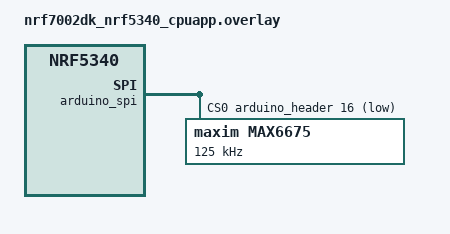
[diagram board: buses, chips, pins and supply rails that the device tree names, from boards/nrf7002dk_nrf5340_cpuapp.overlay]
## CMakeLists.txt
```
cmake_minimum_required(VERSION 3.20.0)

find_package(Zephyr REQUIRED HINTS $ENV{ZEPHYR_BASE})
project(meatometer)

target_include_directories(app PRIVATE ${CMAKE_CURRENT_SOURCE_DIR}/include)
target_include_directories(app PRIVATE src)

target_sources(app PRIVATE
    src/main.c
    src/fsm/session_fsm.c
    src/fsm/conn_fsm.c
    src/fsm/dispatcher.c
    src/comms/ble_prov.c
    src/comms/wifi_mgr.c
    src/comms/mqtt_mgr.c
    src/hal/hal.c
    src/sensor/dummy.c
    src/sensor/max6675.c
    src/sensor/sensor_registry.c
    src/temperature.c
)

zephyr_library_include_directories($<TARGET_PROPERTY:wifi_prov_core,BINARY_DIR>)

target_link_libraries(app PRIVATE wifi_prov_ble)
```

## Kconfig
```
menu "Meatometer application configuration"

config APP_MQTT_BROKER_ADDR
	string "MQTT broker IP address"

config APP_MQTT_USERNAME
	string "MQTT username for authentication at broker"

config APP_MQTT_PASSWORD
	string "MQTT password for authentication at broker"

endmenu

source "Kconfig.zephyr"
```

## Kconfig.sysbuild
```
source "${ZEPHYR_BASE}/share/sysbuild/Kconfig"

# Enable the IPC radio firmware in Sysbuild
config NRF_DEFAULT_IPC_RADIO
	default y
```

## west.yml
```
manifest:
  remotes:
    - name: nrfconnect
      url-base: https://github.com/nrfconnect
  
  projects:
    - name: sdk-nrf
      remote: nrfconnect
      revision: v3.2.3
      import: true

  self:
    path: app
```

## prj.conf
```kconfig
CONFIG_SENSOR=y
CONFIG_SPI=y
CONFIG_STDOUT_CONSOLE=y
CONFIG_CBPRINTF_FP_SUPPORT=y

# Logging
CONFIG_LOG=y
CONFIG_SENSOR_LOG_LEVEL_DBG=y

# State Machine Framework
CONFIG_SMF=y
CONFIG_SMF_ANCESTOR_SUPPORT=n

# Enable the Wi-Fi relevant configurations
CONFIG_WIFI=y
CONFIG_WIFI_NM_WPA_SUPPLICANT=y
# Optimize Wi-Fi stack to save memory
CONFIG_NRF70_RX_NUM_BUFS=16
CONFIG_NRF70_MAX_TX_AGGREGATION=4

# Configure the Wi-Fi credentials
CONFIG_WIFI_CREDENTIALS=y
CONFIG_WIFI_CREDENTIALS_MAX_ENTRIES=1

# Enable the Network Management relevant configurations
CONFIG_NET_MGMT=y
CONFIG_NET_MGMT_EVENT=y
CONFIG_NET_MGMT_EVENT_INFO=y
CONFIG_NET_MGMT_EVENT_STACK_SIZE=22000
CONFIG_NET_MGMT_EVENT_QUEUE_TIMEOUT=5000

# Enable the Connection Manager and L2 connectivity
CONFIG_NET_CONNECTION_MANAGER=y
CONFIG_NET_CONNECTION_MANAGER_MONITOR_STACK_SIZE=5200
CONFIG_L2_WIFI_CONNECTIVITY=y
# Enable the auto connect feature of the L2 Wi-Fi connectivity
#CONFIG_L2_WIFI_CONNECTIVITY_AUTO_CONNECT=n

# DK library
CONFIG_DK_LIBRARY=y

# System settings
CONFIG_NEWLIB_LIBC=y
CONFIG_NEWLIB_LIBC_NANO=n

# Networking
CONFIG_NETWORKING=y
CONFIG_NET_SOCKETS=y
CONFIG_NET_L2_ETHERNET=y
CONFIG_NET_L2_WIFI_MGMT=y
CONFIG_NET_IPV4=y
CONFIG_NET_IPV6=n
CONFIG_NET_NATIVE=y
CONFIG_NET_DHCPV4=y
CONFIG_NET_TCP=y
CONFIG_DNS_RESOLVER=y

# Enable support for shell commands
CONFIG_SHELL=y
CONFIG_NET_L2_WIFI_SHELL=y
CONFIG_WIFI_CREDENTIALS_SHELL=y
CONFIG_SHELL_STACK_SIZE=5200

# Memory
CONFIG_SYSTEM_WORKQUEUE_STACK_SIZE=4096
CONFIG_MAIN_STACK_SIZE=5200

CONFIG_NANOPB=y

# MQTT
CONFIG_MQTT_HELPER=y
CONFIG_MQTT_CLEAN_SESSION=y

# Bluetooth LE
#  Enable the necessary Bluetooth LE configurations
CONFIG_BT=y
CONFIG_BT_PERIPHERAL=y
CONFIG_BT_PERIPHERAL_PREF_TIMEOUT=75
CONFIG_BT_WIFI_PROV=y
CONFIG_WIFI_PROV_CORE=y
CONFIG_BT_BONDABLE=n

CONFIG_BT_SMP=y
CONFIG_BT_BUF_ACL_RX_SIZE=151
CONFIG_BT_L2CAP_TX_MTU=147
CONFIG_BT_BUF_ACL_TX_SIZE=151
CONFIG_BT_RX_STACK_SIZE=22000
CONFIG_BT_DEVICE_NAME_DYNAMIC=y

# Storing credentials
#  Enable the necessary NVS and flash configurations
CONFIG_FLASH=y
CONFIG_FLASH_PAGE_LAYOUT=y
CONFIG_FLASH_MAP=y

CONFIG_NVS=y
CONFIG_SETTINGS=y
CONFIG_SETTINGS_NVS=y

# BT enables MbedTLS heap but uses the default heap size which is not enough for Wi-Fi.
CONFIG_MBEDTLS_HEAP_SIZE=8192

CONFIG_NET_PKT_BUF_TX_DATA_POOL_SIZE=5000
CONFIG_NET_PKT_BUF_RX_DATA_POOL_SIZE=5000
```

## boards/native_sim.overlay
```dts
/ {
    aliases {
        led-power = &led_0;
        led-status = &led_1;
        btn-power = &button0;
        btn-start = &button1;
    };

    buttons {
        compatible = "gpio-keys";

        button0: button_0 {
            gpios = <&gpio1 8 (GPIO_PULL_UP | GPIO_ACTIVE_LOW)>;
            label = "Push button 1";
        };

        button1: button_1 {
            gpios = <&gpio1 9 (GPIO_PULL_UP | GPIO_ACTIVE_LOW)>;
            label = "Push button 2";
        };
    };
};
```

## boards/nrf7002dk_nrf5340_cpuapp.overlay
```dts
/ {
	aliases {
		led-measuring = &led0;
		led-status = &led1;
		btn-measure = &button0;
		btn-reconnect-wifi = &button1;
	};
};

&arduino_spi {
	status = "okay";
	cs-gpios = <&arduino_header 16 GPIO_ACTIVE_LOW>; /* D10 */

	max6675@0 {
		compatible = "maxim,max6675";
		reg = <0>;
		spi-max-frequency = <125000>;
	};
};
```

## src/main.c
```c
/*
 * Copyright (c) 2026 Maik Lorenz <maik.lorenz@pm.me>
 *
 * SPDX-License-Identifier: Apache-2.0
 */

#include "app_config.h"
#include "app_events.h"
#include "comms/ble_prov.h"
#include "comms/mqtt_mgr.h"
#include "comms/wifi_mgr.h"
#include "fsm/conn_fsm.h"
#include "fsm/dispatcher.h"
#include "fsm/session_fsm.h"
#include "hal/hal.h"
#include "sensor/dummy.h"
#include "sensor/sensor_registry.h"
#include "sensor/max6675.h"
#include "temperature.h"
#include <zephyr/app_version.h>
#include <zephyr/kernel.h>
#include <zephyr/logging/log.h>

LOG_MODULE_REGISTER(main, LOG_LEVEL_DBG);

/* size of stack area used by each thread */
#define TH_STACKSIZE         1024
/* scheduling priority used by AppState thread */
#define TH_APPSTATE_PRIORITY 1
/* scheduling priority used by MeasureTemp thread */
#define TH_TEMP_PRIORITY     7

/* Queue for app events */
K_MSGQ_DEFINE(app_event_queue, sizeof(app_event_t), APP_EVENT_QUEUE_DEPTH, 4);

int main(void)
{
	LOG_INF("Meatometer - v%s - arch: %s", APP_VERSION_STRING, CONFIG_ARCH);

	// Get all interfaces
	const hal_iface_t *hal = hal_get_iface(&app_event_queue);
	const network_iface_t *wifi = wifi_get_iface(&app_event_queue);
	const mqtt_iface_t *mqtt = mqtt_get_iface(&app_event_queue);
	const ble_prov_iface_t *ble_prov = ble_prov_get_iface(&app_event_queue);

	// Initialize subsystems
	hal->init();
	wifi->init();
	mqtt->init();
	ble_prov->init();

	// Initialize sensor registry
	sensor_registry_init();
	sensor_registry_register(0, max6675_get_iface());
	// sensor_registry_register(1, sensor_dummy_get_iface());
	uint8_t discovered_mask = sensor_registry_scan();
	(void)discovered_mask;

	// Initialize temperature measurement thread
	temperature_init(&app_event_queue);

	// Initialize state machines
	session_fsm_init(hal, mqtt);
	conn_fsm_init(hal, wifi, mqtt, ble_prov);

	dispatcher_init(&app_event_queue);
	dispatcher_run();

	return 0;
}
```

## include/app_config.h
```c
#pragma once

#define SENSOR_MAX_COUNT          4
#define APP_TARGET_TEMP_DEFAULT_C 65.0f
#define APP_MEASURE_INTERVAL_MS   1000
#define APP_EVENT_QUEUE_DEPTH     16

#define MQTT_CLIENT_ID              "meatometer-01"
#define MQTT_STATE_TOPIC_FMT        "meatometer/sensor/%u/temperature"
#define MQTT_AVAIL_TOPIC            "meatometer/status"
#define MQTT_DISCOVERY_PREFIX       "homeassistant"
#define MQTT_HA_STATUS_TOPIC        "homeassistant/status"
#define MQTT_TARGET_STATE_TOPIC_FMT "meatometer/sensor/%u/target"
#define MQTT_TARGET_CMD_TOPIC_FMT   "meatometer/sensor/%u/target/set"
#define MQTT_TARGET_CMD_TOPIC_SUB   "meatometer/sensor/+/target/set"
#define MQTT_SESSION_STATE_TOPIC    "meatometer/session/state"
```

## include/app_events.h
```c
#pragma once

#include <stdint.h>

typedef enum {
	/* Measure button was pressed */
	EVT_BTN_MEASURE = 0,
	/* Reconnect WiFi button was pressed */
	EVT_BTN_RECONNECT_WIFI,
	/* New temperature measurement available */
	EVT_TEMP_UPDATE,
	/* Target temperature reached */
	EVT_TEMP_REACHED,
	/* Target temperature set via MQTT command */
	EVT_TARGET_TEMP_SET,
	/* WiFi connected */
	EVT_WIFI_CONNECTED,
	/* WiFi disconnected */
	EVT_WIFI_DISCONNECTED,
	/* Attempt to connect to WiFi AP failed */
	EVT_WIFI_CONNECT_FAILED,
	/* MQTT client is successfully connected to broker */
	EVT_MQTT_CONNECTED,
	/* MQTT connection to broker lost */
	EVT_MQTT_DISCONNECTED,
} app_event_type_t;

typedef struct {
	app_event_type_t type;
	union {
		struct {
			uint8_t sensor_slot;
			float temperature;
		} temp;
		struct {
			uint8_t sensor_slot;
			float temperature;
		} target;
		int error_code;
	} data;
} app_event_t;
```

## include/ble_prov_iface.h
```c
/**
 * @file ble_prov_iface.h
 * @brief BLE provisioning interface
 *
 * Abstract interface for BLE-based WiFi provisioning. Production code uses
 * the NCS wifi_provisioning library; tests inject mocks.
 */

#pragma once

/** Callback invoked when BLE provisioning completes successfully. */
typedef void (*ble_prov_done_cb_t)(void);

/** Abstract BLE provisioning interface. */
typedef struct {
	int (*init)(void);
	int (*start)(void);
	int (*stop)(void);
} ble_prov_iface_t;
```

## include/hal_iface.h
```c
#pragma once

#include <stdbool.h>
#include <stdint.h>

/* ── LEDs ─────────────────────────────────────────────────────────── */

#define LED_BLINK_SLOW_MS 1000
#define LED_BLINK_FAST_MS 250

typedef enum {
	/* Measurement is in progress */
	LED_MEASURING = 0,
	/* Status LED - On: WiFi connected, Blinking: Target temperature reached */
	LED_STATUS,
	LED_COUNT,
} led_id_t;

/* ── Buttons ─────────────────────────────────────────────────────────── */

typedef enum {
	/* Start/Stop measurement */
	BTN_MEASURE = 0,
	/* Reconnect Wi-Fi (start BLE advertising) */
	BTN_RECONNECT_WIFI,
	BTN_COUNT,
} btn_id_t;

/** Is called by HAL if a button was pressed. */
typedef void (*btn_callback_t)(btn_id_t btn);

/**
 * Abstract hardware interface.
 * In production code filled with real drivers, in tests with hal_mock.c
 */
typedef struct {
	/** Initializes the hardware interface.
	 * @return 0 on success, negative error code on failure
	 */
	int (*init)(void);

	/** Sets the state of a LED.
	 * @param id LED identifier
	 * @param on true to turn on, false to turn off
	 */
	void (*led_set)(led_id_t id, bool on);
	/** Toggles the state of a LED.
	 * @param id LED identifier
	 */
	void (*led_toggle)(led_id_t id);
	/** Blinks a LED.
	 * @param id LED identifier
	 * @param period_ms Blink period in milliseconds
	 */
	void (*led_blink)(led_id_t id, uint32_t period_ms);
	/** Turns off all LEDs. */
	void (*led_all_off)(void);
} hal_iface_t;
```

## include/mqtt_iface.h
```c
#pragma once

#include <stdbool.h>
#include <stdint.h>

/**
 * Abstract MQTT interface.
 * In production code filled with real drivers, in tests with mock_mqtt.c
 */
typedef struct {
	/** Initializes the MQTT interface.
	 * @return 0 on success, negative error code on failure
	 */
	int (*init)(void);

	/** Connects to the MQTT broker.
	 * @return 0 on success, negative error code on failure
	 */
	int (*connect)(void);
	/** Checks if there is an active connection to the MQTT broker.
	 * @return true if connected, false otherwise
	 */
	bool (*is_connected)(void);
	/** Disconnects from the MQTT broker.
	 * @return 0 on success, negative error code on failure
	 */
	int (*disconnect)(void);
	/** Publishes a temperature value to the MQTT broker.
	 * @param temp_celsius Temperature value in °C to publish
	 * @return 0 on success, negative error code on failure
	 */
	int (*publish_temperature)(uint8_t sensor_slot, float temp_celsius);
	/** Publish HA MQTT discovery configs for sensors in the given bitmask.
	 *  Also publishes "online" to the availability topic.
	 * @param sensor_mask Bitmask of sensor slots to advertise (bit 0 = slot 0)
	 * @return 0 on success, negative error code on failure
	 */
	int (*publish_discovery)(uint8_t sensor_mask);
	/** Subscribe to target temperature command topics and publish HA number
	 *  discovery configs for each sensor in the mask.
	 * @param sensor_mask Bitmask of sensor slots (bit 0 = slot 0)
	 * @return 0 on success, negative error code on failure
	 */
	int (*subscribe_targets)(uint8_t sensor_mask);
	/** Publish current target temperature state for a sensor slot.
	 * @param sensor_slot Sensor slot index
	 * @param target_celsius Target temperature in °C
	 * @return 0 on success, negative error code on failure
	 */
	int (*publish_target_state)(uint8_t sensor_slot, float target_celsius);
	/** Publish the current session state string.
	 * @param state State string ("idle", "detecting", "measuring", "done")
	 * @return 0 on success, negative error code on failure
	 */
	int (*publish_session_state)(const char *state);
} mqtt_iface_t;
```

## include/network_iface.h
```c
#pragma once

#include <stdbool.h>
#include <stdint.h>

/**
 * Abstract network interface.
 * In production code filled with real drivers, in tests with mock_network.c
 */
typedef struct {
	/** Initializes the network interface.
	 * @return 0 on success, negative error code on failure
	 */
	int (*init)(void);
	/** Connects to WiFi using stored credentials.
	 * Non-blocking — result delivered via EVT_WIFI_CONNECTED /
	 * EVT_WIFI_CONNECT_FAILED.
	 * @return 0 on success (connection initiated), negative error code on failure
	 */
	int (*connect)(void);
	/** Disconnects from the network.
	 * @return 0 on success, negative error code on failure
	 */
	int (*disconnect)(void);
	/** Checks if the network is currently connected.
	 * @return true if connected, false otherwise
	 */
	bool (*is_connected)(void);
	/** Checks if stored WiFi credentials exist.
	 * @return true if credentials are stored, false otherwise
	 */
	bool (*has_credentials)(void);
} network_iface_t;
```

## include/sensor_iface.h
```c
#pragma once

#include <stdbool.h>
#include <stdint.h>

/**
 * Abstract sensor interface.
 * In production code filled with real drivers, in tests with sensor_mock.c
 */
typedef struct {
	/** Initialize the sensor(s).
	 * @return 0 on success, negative error code on failure.
	 */
	int (*init)(void);
	/** Reads the current temperature in °C.
	 * @param out_celsius Pointer to store the read temperature value
	 * @return 0 on success, negative error code on failure
	 */
	int (*read_temp)(float *out_celsius);
} sensor_iface_t;
```

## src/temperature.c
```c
#include "temperature.h"
#include "app_config.h"
#include "app_events.h"
#include "sensor/sensor_registry.h"
#include <zephyr/logging/log.h>
#include <zephyr/sys/atomic.h>

LOG_MODULE_REGISTER(sensor, LOG_LEVEL_DBG);

#define MEASURE_THREAD_STACK_SIZE 2048
#define MEASURE_THREAD_PRIORITY   7

static atomic_t measure_active = ATOMIC_INIT(0);
static struct k_condvar measure_cv;
static struct k_mutex measure_mutex;

K_THREAD_STACK_DEFINE(measure_thread_stack, MEASURE_THREAD_STACK_SIZE);

static struct k_msgq *evt_queue;
static struct k_thread measure_thread_data;

static void measure_thread_fn(void *p1, void *p2, void *p3)
{
	ARG_UNUSED(p1);
	ARG_UNUSED(p2);
	ARG_UNUSED(p3);

	while (true) {
		/* Wait until measurement is requested */
		k_mutex_lock(&measure_mutex, K_FOREVER);
		while (!atomic_get(&measure_active)) {
			k_condvar_wait(&measure_cv, &measure_mutex, K_FOREVER);
		}
		k_mutex_unlock(&measure_mutex);

		LOG_INF("Measuring started");

		while (atomic_get(&measure_active)) {
			uint8_t mask = sensor_registry_get_connected_mask();

			for (uint8_t i = 0; i < SENSOR_MAX_COUNT; i++) {
				if (!(mask & (1U << i))) {
					continue;
				}
				const sensor_iface_t *s = sensor_registry_get(i);
				if (s == NULL) {
					continue;
				}
				float temp;
				int ret = s->read_temp(&temp);

				if (ret == 0) {
					LOG_DBG("Slot %u: %.1f °C", i, (double)temp);
					app_event_t evt = {
						.type = EVT_TEMP_UPDATE,
						.data.temp.sensor_slot = i,
						.data.temp.temperature = temp,
					};
					k_msgq_put(evt_queue, &evt, K_NO_WAIT);
				} else {
					LOG_ERR("Slot %u: read_temp failed: %d", i, ret);
				}
			}

			k_sleep(K_MSEC(APP_MEASURE_INTERVAL_MS));
		}

		LOG_INF("Measuring stopped");
	}
}

/* ── Public API ─────────────────────────────────────────────── */

int temperature_init(struct k_msgq *queue)
{
	LOG_INF("Initializing temperature measurement...");
	evt_queue = queue;

	k_mutex_init(&measure_mutex);
	k_condvar_init(&measure_cv);

	k_thread_create(&measure_thread_data, measure_thread_stack,
			K_THREAD_STACK_SIZEOF(measure_thread_stack), measure_thread_fn, NULL, NULL,
			NULL, MEASURE_THREAD_PRIORITY, 0, K_NO_WAIT);
	k_thread_name_set(&measure_thread_data, "measure_thread");

	return 0;
}

void temperature_start(void)
{
	atomic_set(&measure_active, 1);
	k_condvar_signal(&measure_cv);
}

void temperature_stop(void)
{
	atomic_set(&measure_active, 0);
}
```

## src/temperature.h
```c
#pragma once
#include <zephyr/kernel.h>

/** Initialize the temperature measurement thread which posts measurements to
 * the queue. Sensors are read from the sensor registry.
 * @param queue Pointer to the app event message queue to post EVT_TEMP_UPDATE
 * events
 * @return 0 on success, negative error code on failure.
 */
int temperature_init(struct k_msgq *queue);
/** Starts temperature measurement */
void temperature_start(void);
/** Stops temperature measurement */
void temperature_stop(void);
```
